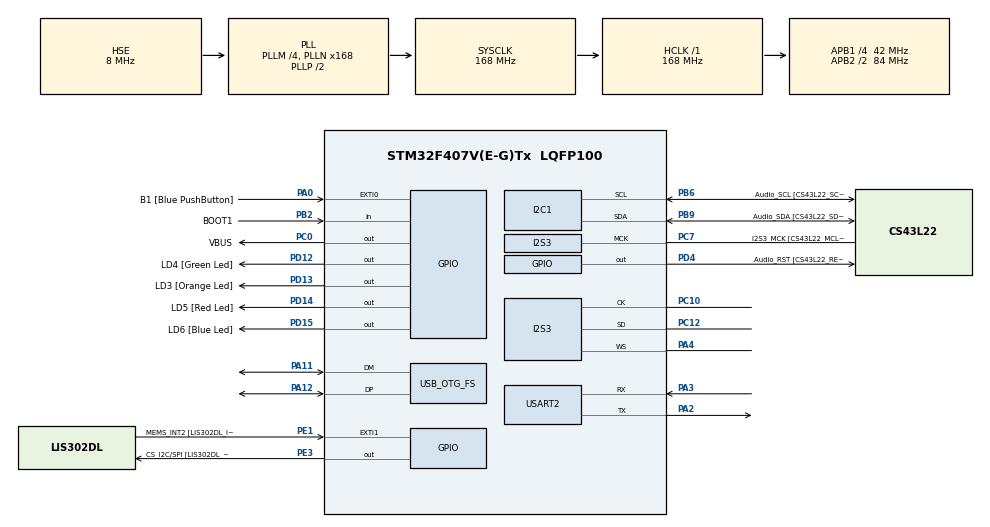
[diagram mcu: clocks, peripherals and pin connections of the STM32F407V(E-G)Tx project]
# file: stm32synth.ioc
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Dma.Request0=SPI3_TX
Dma.SPI3_TX.0.Direction=DMA_MEMORY_TO_PERIPH
Dma.SPI3_TX.0.FIFOMode=DMA_FIFOMODE_ENABLE
Dma.SPI3_TX.0.FIFOThreshold=DMA_FIFO_THRESHOLD_FULL
Dma.SPI3_TX.0.Instance=DMA1_Stream5
Dma.SPI3_TX.0.MemBurst=DMA_MBURST_SINGLE
Dma.SPI3_TX.0.MemDataAlignment=DMA_MDATAALIGN_HALFWORD
Dma.SPI3_TX.0.MemInc=DMA_MINC_ENABLE
Dma.SPI3_TX.0.Mode=DMA_CIRCULAR
Dma.SPI3_TX.0.PeriphBurst=DMA_PBURST_SINGLE
Dma.SPI3_TX.0.PeriphDataAlignment=DMA_PDATAALIGN_HALFWORD
Dma.SPI3_TX.0.PeriphInc=DMA_PINC_DISABLE
Dma.SPI3_TX.0.Priority=DMA_PRIORITY_LOW
I2S3.AudioFreq=I2S_AUDIOFREQ_48K
I2S3.ErrorAudioFreq=1.72 %
I2S3.FullDuplexMode=I2S_FULLDUPLEXMODE_DISABLE
I2S3.Instance=SPI$Index
I2S3.RealAudioFreq=48.828 KHz
I2S3.VirtualMode=I2S_MODE_MASTER
Mcu.Family=STM32F4
Mcu.Name=STM32F407V(E-G)Tx
Mcu.Package=LQFP100
NVIC.DMA1_Stream5_IRQn=true\:0\:0\:false\:false\:true\:false\:true
NVIC.OTG_FS_IRQn=true\:0\:0\:false\:false\:true\:true\:true
NVIC.PriorityGroup=NVIC_PRIORITYGROUP_0
PA0-WKUP.GPIO_Label=B1 [Blue PushButton]
PA0-WKUP.GPIO_ModeDefaultEXTI=GPIO_MODE_EVT_RISING
PA0-WKUP.GPIO_PuPd=GPIO_NOPULL
PA0-WKUP.Signal=GPXTI0
PA11.Mode=Host_Only
PA11.Signal=USB_OTG_FS_DM
PA12.Mode=Host_Only
PA12.Signal=USB_OTG_FS_DP
PA13.GPIO_Label=SWDIO
PA13.Mode=Serial_Wire
PA13.Signal=SYS_JTMS-SWDIO
PA14.GPIO_Label=SWCLK
PA14.Mode=Serial_Wire
PA14.Signal=SYS_JTCK-SWCLK
PA2.Mode=Asynchronous
PA2.Signal=USART2_TX
PA3.Mode=Asynchronous
PA3.Signal=USART2_RX
PA4.Mode=Half_Duplex_Master
PA4.Signal=I2S3_WS
PA5.GPIO_Label=SPI1_SCK [LIS302DL_SCL/SPC]
PA5.GPIO_Mode=GPIO_MODE_AF_PP
PA5.GPIO_PuPd=GPIO_NOPULL
PA5.GPIO_Speed=GPIO_SPEED_FREQ_LOW
PA5.Signal=SPI1_SCK
PA6.GPIO_Label=SPI1_MISO [LIS302DL_SDO]
PA6.GPIO_Mode=GPIO_MODE_AF_PP
PA6.GPIO_PuPd=GPIO_NOPULL
PA6.GPIO_Speed=GPIO_SPEED_FREQ_LOW
PA6.Signal=SPI1_MISO
PA7.GPIO_Label=SPI1_MOSI [LIS302DL_SDA/SDI/SDO]
PA7.GPIO_Mode=GPIO_MODE_AF_PP
PA7.GPIO_PuPd=GPIO_NOPULL
PA7.GPIO_Speed=GPIO_SPEED_FREQ_LOW
PA7.Signal=SPI1_MOSI
PA9.Signal=USB_OTG_FS_VBUS
PB10.GPIO_Label=CLK_IN [MP45DT02_CLK]
PB10.GPIO_Mode=GPIO_MODE_AF_PP
PB10.GPIO_PuPd=GPIO_NOPULL
PB10.GPIO_Speed=GPIO_SPEED_FREQ_LOW
PB10.Signal=I2S2_CK
PB2.GPIO_Label=BOOT1
PB2.GPIO_Mode=GPIO_MODE_INPUT
PB2.GPIO_PuPd=GPIO_NOPULL
PB2.Signal=GPIO_Input
PB3.GPIO_Label=SWO
PB3.Signal=SYS_JTDO-SWO
PB6.GPIO_Label=Audio_SCL [CS43L22_SCL]
PB6.GPIO_Mode=GPIO_MODE_AF_OD
PB6.GPIO_PuPd=GPIO_NOPULL
PB6.GPIO_Speed=GPIO_SPEED_FREQ_LOW
PB6.Mode=I2C
PB6.Signal=I2C1_SCL
PB9.GPIO_Label=Audio_SDA [CS43L22_SDA]
PB9.GPIO_Mode=GPIO_MODE_AF_OD
PB9.GPIO_PuPd=GPIO_NOPULL
PB9.GPIO_Speed=GPIO_SPEED_FREQ_LOW
PB9.Mode=I2C
PB9.Signal=I2C1_SDA
PC0.GPIO_Label=VBUS
PC0.Signal=GPIO_Output
PC10.Mode=Half_Duplex_Master
PC10.Signal=I2S3_CK
PC12.Mode=Half_Duplex_Master
PC12.Signal=I2S3_SD
PC14-OSC32_IN.GPIO_Label=PC14-OSC32_IN
PC14-OSC32_IN.Signal=RCC_OSC32_IN
PC15-OSC32_OUT.GPIO_Label=PC15-OSC32_OUT
PC15-OSC32_OUT.Signal=RCC_OSC32_OUT
PC3.GPIO_Label=PDM_OUT [MP45DT02_DOUT]
PC3.GPIO_Mode=GPIO_MODE_AF_PP
PC3.GPIO_PuPd=GPIO_NOPULL
PC3.GPIO_Speed=GPIO_SPEED_FREQ_LOW
PC3.Signal=I2S2_SD
PC7.GPIO_Label=I2S3_MCK [CS43L22_MCLK]
PC7.GPIO_Mode=GPIO_MODE_AF_PP
PC7.GPIO_PuPd=GPIO_NOPULL
PC7.GPIO_Speed=GPIO_SPEED_FREQ_LOW
PC7.Mode=Master_Clock_Activated
PC7.Signal=I2S3_MCK
PD12.GPIO_Label=LD4 [Green Led]
PD12.GPIO_PuPd=GPIO_NOPULL
PD12.GPIO_Speed=GPIO_SPEED_FREQ_LOW
PD12.Signal=GPIO_Output
PD13.GPIO_Label=LD3 [Orange Led]
PD13.GPIO_PuPd=GPIO_NOPULL
PD13.GPIO_Speed=GPIO_SPEED_FREQ_LOW
PD13.Signal=GPIO_Output
PD14.GPIO_Label=LD5 [Red Led]
PD14.GPIO_PuPd=GPIO_NOPULL
PD14.GPIO_Speed=GPIO_SPEED_FREQ_LOW
PD14.Signal=GPIO_Output
PD15.GPIO_Label=LD6 [Blue Led]
PD15.GPIO_PuPd=GPIO_NOPULL
PD15.GPIO_Speed=GPIO_SPEED_FREQ_LOW
PD15.Signal=GPIO_Output
PD4.GPIO_Label=Audio_RST [CS43L22_RESET]
PD4.GPIO_PuPd=GPIO_NOPULL
PD4.GPIO_Speed=GPIO_SPEED_FREQ_LOW
PD4.Signal=GPIO_Output
PE1.GPIO_Label=MEMS_INT2 [LIS302DL_INT2]
PE1.GPIO_ModeDefaultEXTI=GPIO_MODE_EVT_RISING
PE1.GPIO_PuPd=GPIO_NOPULL
PE1.Signal=GPXTI1
PE3.GPIO_Label=CS_I2C/SPI [LIS302DL_CS_I2C/SPI]
PE3.GPIO_PuPd=GPIO_NOPULL
PE3.GPIO_Speed=GPIO_SPEED_FREQ_LOW
PE3.Signal=GPIO_Output
PH0-OSC_IN.GPIO_Label=PH0-OSC_IN
PH0-OSC_IN.Mode=HSE-External-Oscillator
PH0-OSC_IN.Signal=RCC_OSC_IN
PH1-OSC_OUT.GPIO_Label=PH1-OSC_OUT
PH1-OSC_OUT.Mode=HSE-External-Oscillator
PH1-OSC_OUT.Signal=RCC_OSC_OUT
ProjectManager.HeapSize=0x200
ProjectManager.StackSize=0x400
ProjectManager.TargetToolchain=STM32CubeIDE
RCC.48MHZClocksFreq_Value=48000000
RCC.AHBFreq_Value=168000000
RCC.APB1CLKDivider=RCC_HCLK_DIV4
RCC.APB1Freq_Value=42000000
RCC.APB1TimFreq_Value=84000000
RCC.APB2CLKDivider=RCC_HCLK_DIV2
RCC.APB2Freq_Value=84000000
RCC.APB2TimFreq_Value=168000000
RCC.CortexFreq_Value=168000000
RCC.HCLKFreq_Value=168000000
RCC.HSE_VALUE=8000000
RCC.HSI_VALUE=16000000
RCC.LSE_VALUE=32768
RCC.PLLI2SN=50
RCC.PLLM=4
RCC.PLLN=168
RCC.PLLQ=7
RCC.SYSCLKFreq_VALUE=168000000
RCC.SYSCLKSource=RCC_SYSCLKSOURCE_PLLCLK
RCC.VCOOutputFreq_Value=336000000
USART2.VirtualMode=VM_ASYNC
USB_HOST.BSP.number=1
USB_HOST.USBH_HandleTypeDef-AUDIO_FS=hUsbHostFS
USB_HOST.VirtualModeFS=Audio
USB_HOST0.BSP.STBoard=false
USB_HOST0.BSP.api=Unknown
USB_HOST0.BSP.i2caddr=0
USB_HOST0.BSP.instance=PC0
USB_HOST0.BSP.ip=GPIO
USB_HOST0.BSP.mode=Output
USB_HOST0.BSP.name=Drive_VBUS_FS
USB_HOST0.BSP.solution=PC0
USB_OTG_FS.Sof_enable=DISABLE
USB_OTG_FS.VirtualMode=Host_Only
USB_OTG_FS.phy_itface=HCD_PHY_EMBEDDED
USB_OTG_FS.speed=HCD_SPEED_LOW
VP_USB_HOST_VS_USB_HOST_AUDIO_FS.Mode=AUDIO_FS
board=STM32F407G-DISC1

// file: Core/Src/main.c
/* USER CODE BEGIN Header */
/**
  ******************************************************************************
  * @file           : main.c
  * @brief          : Main program body
  ******************************************************************************
  * @attention
  *
  * <h2><center>&copy; Copyright (c) 2020 STMicroelectronics.
  * All rights reserved.</center></h2>
  *
  * This software component is licensed by ST under Ultimate Liberty license
  * SLA0044, the "License"; You may not use this file except in compliance with
  * the License. You may obtain a copy of the License at:
  *                             www.st.com/SLA0044
  *
  ******************************************************************************
  *	STM 32 Synthesizer
  *	by Mikael Hessel
  *	summer of 2020
  *
  *	Polyphonic synthesizer with midi support.
  *	Sinus, Sawtooth, Square, Triangle and Noise waveforms
  *	Delay, some FIR-filters and AR-envelope
  *
  *	Uses USB MIDI Class expansion by: Xavier Halgand
  *
  ******************************************************************************
  */
/* USER CODE END Header */

#include "main.h"
#include "dma.h"
#include "i2c.h"
#include "i2s.h"
#include "usart.h"
#include "usb_host.h"
#include "gpio.h"

/* USER CODE BEGIN Includes */

// #include <stdint.h>

#include "modules/test/test.h"
#include "modules/sound.h"
#include "modules/delay.h"
#include "modules/midi.h"

#include "modules/keylist.h"

#include "modules/filter.h"

#include "modules/serial.h"

// ----------for testing interrupt
#include <math.h>
#include <stdlib.h>

/* USER CODE END Includes */

/* USER CODE BEGIN PD */

// #define FREQ	 		440.0f		// initial frequency, for test

// #define RUN_TEST

/* USER CODE END PD */

/* USER CODE BEGIN PV */

// DAC data buffer (ABUFSIZE is actually 4 times the time of an individual buffer due to stereo and half buffer interrupt)
int16_t I2S_data[ABUFSIZE];

// testing delay
ringbuf_t* delaybuf;

extern uint16_t delaytime;
extern float delayamp;

// current note and envelope, from sound.h-----
extern note_t *curnote;
extern envelope_t *curenv;

// MIDI handling
extern MIDI_ApplicationTypeDef Appli_state; // defined in usb_host.c
extern USBH_HandleTypeDef hUsbHostFS;

// test for polyphony
note_t* voices[MAXVOICES];
extern keylist_t kl;

float limiter = 1.0f/MAXVOICES;

// test of filter
const float* filterpointer = NULL;

/* USER CODE END PV */

void SystemClock_Config(void);
void MX_USB_HOST_Process(void);

/* USER CODE BEGIN PFP */

// --------------- user process callback for status light handling
// static void USBH_UserProcess_callback(USBH_HandleTypeDef *phost, uint8_t id);

/* USER CODE END PFP */

int main(void)
{
  /* USER CODE BEGIN 1 */

	// ---------------zero fill filterbuffer;
	initFIRBuffer();

	// new filter init;
	initMoog();

	filterEnable = 1;

	// ---------------create delay buffer
	delaybuf = initDelaybuffer(DELAYBUFSIZE);

	// Allocate memory for current note, this is then used by
	// midi parser and playback
	curnote = malloc(sizeof(*curnote)); // + sizeof(envelope_t));  // is this correct?
	curenv = malloc(sizeof(*curenv));

	// default sound and envelope:
	//
	// note 72, 440 Hz, time 0, Sinus wave, amplitude 1
	// TODO: this might not be needed anymore...
	curnote->note = 72;
	curnote->freq = 440.f;
	curnote->phase = 0;
	curnote->osc = SINUS; // this one is only one used
	curnote->velocity = 127;

	// envelope phase, counter, edt, current env,attack, decay, sustain, release
	// TODO: maybe only keep track of attack and release settings in two variables?
	curenv->phase = ATTACK;
	curenv->attack = 0;
	curenv->decay = 63;
	curenv->sustain = 63; // not needed
	curenv->release = 0;
	// maybe other values should also be initalized?

	// create empty voices and clear necessary data
	for(int i=0; i < MAXVOICES; i++){
		voices[i] = (note_t *)malloc(sizeof(note_t));
		voices[i]->env = (envelope_t *)malloc(sizeof(envelope_t));
		voices[i]->note = 255;
		voices[i]->active = 0;
	}

	// counter for print testing
	uint16_t printcount = 0;

  /* USER CODE END 1 */

  /* MCU Configuration--------------------------------------------------------*/

  /* Reset of all peripherals, Initializes the Flash interface and the Systick. */
  HAL_Init();

  /* Configure the system clock */
  SystemClock_Config();

  /* Initialize all configured peripherals */
  MX_GPIO_Init();
  MX_DMA_Init();
  MX_I2C1_Init();
  MX_I2S3_Init();
  MX_USB_HOST_Init();
  MX_USART2_UART_Init();
  /* USER CODE BEGIN 2 */

  // run init of DAC-chip, communicate over i2c handle 1
  initCS43(&hi2c1);
  setVolCS43(&hi2c1, 180);
  startCS43(&hi2c1);

  // send som data to start I2S clock
  // Clear buffer
  for (int i = 0; i < ABUFSIZE; i++){ I2S_data[i] = 0x0000; }
  // Start DMA-transfer
  HAL_I2S_Transmit_DMA(&hi2s3, (uint16_t *)I2S_data, ABUFSIZE);

// Entry point for test functions
#ifdef RUN_TEST

  test_all();

#endif

  /* USER CODE END 2 */

  /* Infinite loop */
  while (1)
  {
   MX_USB_HOST_Process();
   HAL_GPIO_TogglePin(LD4_GPIO_Port, LD4_Pin);

    /* USER CODE BEGIN 3 */

   	   // Main application switches on state of usb-connection
	  switch(Appli_state){
	  case APPLICATION_READY:
		  // start receiving midi data
		  // and change state
		  USBH_MIDI_Receive(&hUsbHostFS, midiRxBuf, MIDI_BUF_SIZE);
		  Appli_state = APPLICATION_RUNNING;
		  // f=440;
		  break;
	  case APPLICATION_RUNNING:
		  break;
	  case APPLICATION_DISCONNECT:
		  // stop receiving midi data and silience output
		  USBH_MIDI_Stop(&hUsbHostFS);

		  // Stop playback by clearing midi-note list
		  removeAllKeys(&kl);
		  break;
	  default:
		  break;
	  }

	  // check if anything in queue to print

	  // small delay seems to be necessary
	  // HAL_Delay(1);
	  // test to print status message
	  // if (printcount == 0){ serialprintIT("Testing\n", 8); }
	  // printcount++;

  }
  /* USER CODE END 3 */
}

void SystemClock_Config(void)
{
  RCC_OscInitTypeDef RCC_OscInitStruct = {0};
  RCC_ClkInitTypeDef RCC_ClkInitStruct = {0};
  RCC_PeriphCLKInitTypeDef PeriphClkInitStruct = {0};

  /** Configure the main internal regulator output voltage
  */
  __HAL_RCC_PWR_CLK_ENABLE();
  __HAL_PWR_VOLTAGESCALING_CONFIG(PWR_REGULATOR_VOLTAGE_SCALE1);
  /** Initializes the CPU, AHB and APB busses clocks
  */
  RCC_OscInitStruct.OscillatorType = RCC_OSCILLATORTYPE_HSE;
  RCC_OscInitStruct.HSEState = RCC_HSE_ON;
  RCC_OscInitStruct.PLL.PLLState = RCC_PLL_ON;
  RCC_OscInitStruct.PLL.PLLSource = RCC_PLLSOURCE_HSE;
  RCC_OscInitStruct.PLL.PLLM = 4;
  RCC_OscInitStruct.PLL.PLLN = 168;
  RCC_OscInitStruct.PLL.PLLP = RCC_PLLP_DIV2;
  RCC_OscInitStruct.PLL.PLLQ = 7;
  if (HAL_RCC_OscConfig(&RCC_OscInitStruct) != HAL_OK)
  {
    Error_Handler();
  }
  /** Initializes the CPU, AHB and APB busses clocks
  */
  RCC_ClkInitStruct.ClockType = RCC_CLOCKTYPE_HCLK|RCC_CLOCKTYPE_SYSCLK
                              |RCC_CLOCKTYPE_PCLK1|RCC_CLOCKTYPE_PCLK2;
  RCC_ClkInitStruct.SYSCLKSource = RCC_SYSCLKSOURCE_PLLCLK;
  RCC_ClkInitStruct.AHBCLKDivider = RCC_SYSCLK_DIV1;
  RCC_ClkInitStruct.APB1CLKDivider = RCC_HCLK_DIV4;
  RCC_ClkInitStruct.APB2CLKDivider = RCC_HCLK_DIV2;

  if (HAL_RCC_ClockConfig(&RCC_ClkInitStruct, FLASH_LATENCY_5) != HAL_OK)
  {
    Error_Handler();
  }
  PeriphClkInitStruct.PeriphClockSelection = RCC_PERIPHCLK_I2S;
  PeriphClkInitStruct.PLLI2S.PLLI2SN = 50;
  PeriphClkInitStruct.PLLI2S.PLLI2SR = 2;
  if (HAL_RCCEx_PeriphCLKConfig(&PeriphClkInitStruct) != HAL_OK)
  {
    Error_Handler();
  }
}

/* USER CODE BEGIN 4 */

// Polyphonic playback

// Goes through list of pressed keys and updates state of voices.
// Then adds sound of each voice to next buffer stage.

void playback(uint16_t start, uint16_t stop){
	static float dacdata;

	dacdata = 0.0f;

	int16_t dacwrite = 0;
	node_t *currentnode = kl.first;
	keypress_t kp;

	keypress_t addvoices[MAXVOICES]; // store voices to be added

	// counting variables
	uint8_t num = 0;
	uint8_t index = 0;

	// update active voices

	// 0 not active, 1 ready, 2 fadeout, 3 release, 4 playing

	// set all inactive
	// clear list to add
	for(uint8_t j = 0; j < MAXVOICES; j++){
		// set active to two for all (will go into release mode if inactive, if zero stays that way)
		voices[j]->active = (voices[j]->active) ? 2 : 0;

		// note value of 255 is marker of empty note
		addvoices[j].note = 255;
	}

	// set activate if still playing
	// create new for others
	for(uint8_t j = 0; j < MAXVOICES; j++){
		if (currentnode != NULL){
			readKey(currentnode, &kp);
			currentnode = currentnode->next;

			index = 0;

			// go through voices
			for(uint8_t k = 0; k < MAXVOICES; k++){
				// if voice matches pressed key set it to active again and update
				if (voices[k]->note == kp.note){
					voices[k]->active = 3;
					//update envelope phases here?

					if(voices[k]->env->counter == 0){
						switch(voices[k]->env->phase){
							case ATTACK: // attack phase is over, go into DEACY
								voices[k]->env->phase = DECAY;
								// voices[k]->env->phase = SUSTAIN;
								envelopeCalc(voices[k]->env);
								break;
							case DECAY:
								voices[k]->env->phase = SUSTAIN; // if no decay phase go into sustain
								envelopeCalc(voices[k]->env);
								break;
							case SUSTAIN:
								// do nothing

								break;

								// in case note is in release phase, reactivate with fastfade
							case RELEASE: // this should not happen

								break;
							case FASTFADE:
								// after a fastfade the next note should be queued so go to ATTACK for that
								voices[k]->env->phase = ATTACK;
								// queue note data here
								voices[index]->freq = noteToFreq(voices[index]->note);
								voices[index]->phase = 0.0f;
								voices[index]->osc = curnote->osc;

								envelopeCalc(voices[k]->env);
								break;
							case INACTIVE:
								// do
								break;
							default:
								//voices[k]->env->current = voices[k]->env->sustain/127.0;
								//voices[k]->env->edt = 0.0;
								break;
						}

					}else{
						if(voices[k]->env->phase == RELEASE){
							voices[k]->env->phase = FASTFADE;
							voices[k]->velocity = kp.velocity;
							voices[k]->note = kp.note;
							// TODO: update envelope setting ? or do it in fastdfade
							envelopeCalc(voices[k]->env);
						}
						voices[k]->env->counter--;
					}

					index = 1;
					break; // note found and marked, break inner for-loop
				}
			}
			// index 0 means note was not found already
			if( index  == 0 ){
				// copy keypress to voice data for adding
				addvoices[num].note = kp.note;
				addvoices[num].velocity = kp.velocity;
				// increase num
				num++;
			}
		}else{
			// this means no more nodes so no more keys are pressed
			// break outer for loop (all keys are either already playing or added to queue)
			break;
		}
	}
	// add voice data to inactive voices
	num = 0;
	index = 0;

	while(addvoices[num].note != 255 && num < MAXVOICES ){
		// find non-active voice
		while(voices[index]->active >= 2 && index < MAXVOICES){ index++; }
		// if no more voices  exit
		if(index >= MAXVOICES){ break; }

		// basic setup to do for all
		voices[index]->note = addvoices[num].note;
		voices[index]->velocity = addvoices[num].velocity;

		// if not not active set rest of parameters
		if(voices[index]->active == 0){
			voices[index]->freq = noteToFreq(voices[index]->note);
			voices[index]->phase = 0.0f;
			voices[index]->active = 3;
			voices[index]->osc = curnote->osc; // so maybe store current synth settings somewhere else?
		// also add current settings of envelope here
			voices[index]->env->phase = ATTACK;
			voices[index]->env->current = 0.0;
		}else{
			// if note is in release mode queue for FASTFADE
			voices[index]->env->phase = FASTFADE;
			voices[index]->active = 1;
		}

		voices[index]->env->attack = curenv->attack;
		voices[index]->env->decay = curenv->decay;
		voices[index]->env->sustain = addvoices[num].velocity;
		voices[index]->env->release = curenv->release;
		envelopeCalc(voices[index]->env);
		num++;
	}

	// handle release envelope and
	// erase non playing notes
	for(int i = 0; i<MAXVOICES; i++){
		if (voices[i]->active == 2){
			if(voices[i]->env->phase == RELEASE){
				if(voices[i]->env->counter == 0){
					voices[i]->active = 0; // turn off voice, release is finished
					voices[i]->note = 254; // set note value so it won't retrigger
				}else{
					voices[i]->env->counter--;
				}
			}else if(voices[i]->env->phase == FASTFADE){
					voices[i]->env->counter--;
			}else{  // note is set to go to release phase
				voices[i]->env->phase = RELEASE;
				envelopeCalc(voices[i]->env);
			}

		}
	}

	// iterate over buffer steps
	for(uint16_t i = start; i < stop; i++){

		// iterate over active voices
		for(int j = 0; j < MAXVOICES; j++){

			if(voices[j]->active != 0){

				// Voice active
				// Calculate parameters
				voices[j]->phaseinc = voices[j]->freq / SRATE;
				voices[j]->numsamp = SRATE / voices[j]->freq;

				// update voice envelope here
				voices[j]->env->current += voices[j]->env->edt;

				// Add data to output
				//dacdata += (voices[j]->env->current * playSound( voices[j] ));
				dacdata += ((voices[j]->env->current) * playSound( voices[j] ));
				// (voices[j]->env->current);
			}
		}
		// total volume depends on maximum number of voices (or set limit)..
		dacdata *= limiter;

		  // ---- testing delay
		  // could this be written as ONE function instead?
		  dacdata = (dacdata + readDelayOffset(delaybuf, delaytime) * delayamp) / (1+delayamp);
		  writeDelay(delaybuf, dacdata);

		  // test of filter
		  // uses some preset settings
		  // takes up a bit of cpu time and will limit number of voices... making playback crash
		  /*
		  if (filterpointer != NULL){
			  dacdata = filterFIR(dacdata, filterpointer);
		  }
		   */

		  // new filter
		  // probably should filter whole buffer at a time to avoid function call overhead

		  // hard limit before filter
		  dacdata = (dacdata > 1) ? 1 : ((dacdata < -1 ) ?  -1 : dacdata );
		  if(filterEnable){
			  dacdata = processMoog(dacdata);
		  }else{
			  dacdata = limitAndDistort(dacdata);
		  }

		  // hard clip if over range and distort (not needed if we do it in filter already)
		  //

		// write data to buffer (stereo so same data on both channels)
		dacwrite = dacdata * (BITLIMIT/2 - 1);
		I2S_data[i*2] = dacwrite;
		I2S_data[i*2 + 1] = dacwrite;
	}
}

// runs when buffer half empty
// fill first half of buffer
void HAL_I2S_TxHalfCpltCallback(I2S_HandleTypeDef *hi2s)
{
  /* Prevent unused argument(s) compilation warning */
  UNUSED(hi2s);

  playback(0, ABUFSIZE/4);

}

/**
  * @brief  Tx Transfer completed callbacks
  * @param  hi2s pointer to a I2S_HandleTypeDef structure that contains
  *         the configuration information for I2S module
  * @retval None
  */

// runs when buffer empty
// fill second half of buffer
void HAL_I2S_TxCpltCallback(I2S_HandleTypeDef *hi2s)
{
  /* Prevent unused argument(s) compilation warning */
  UNUSED(hi2s);

  playback(ABUFSIZE/4, ABUFSIZE/2);

}

/* USER CODE END 4 */

void Error_Handler(void)
{
}

/************************ (C) COPYRIGHT STMicroelectronics *****END OF FILE****/
